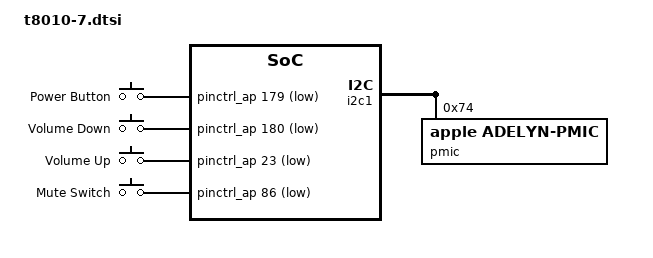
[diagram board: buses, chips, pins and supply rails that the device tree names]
// SPDX-License-Identifier: GPL-2.0+ OR MIT
/*
 * Apple iPhone 7 / 7 Plus common device tree
 *
 * Copyright (c) 2022, Konrad Dybcio <konradybcio@kernel.org>
 */

#include "t8010.dtsi"
#include "t8010-common.dtsi"
#include <dt-bindings/input/input.h>

/ {
	chassis-type = "handset";

	gpio-keys {
		compatible = "gpio-keys";

		button-power {
			label = "Power Button";
			gpios = <&pinctrl_ap 179 GPIO_ACTIVE_LOW>;
			linux,code = <KEY_POWER>;
			wakeup-source;
		};

		button-voldown {
			label = "Volume Down";
			gpios = <&pinctrl_ap 180 GPIO_ACTIVE_LOW>;
			linux,code = <KEY_VOLUMEDOWN>;
		};

		button-volup {
			label = "Volume Up";
			gpios = <&pinctrl_ap 23 GPIO_ACTIVE_LOW>;
			linux,code = <KEY_VOLUMEUP>;
		};

		switch-mute {
			label = "Mute Switch";
			gpios = <&pinctrl_ap 86 GPIO_ACTIVE_LOW>;
			linux,code = <KEY_MUTE>;
		};
	};
};

&framebuffer0 {
	power-domains = <&ps_disp0_fe &ps_disp0_be &ps_mipi_dsi>;
};

&hurricane_opp09 {
	status = "okay";
};

&hurricane_opp10 {
	status = "okay";
};

&i2c1 {
	status = "okay";

	pmic@74 {
		compatible = "apple,adelyn-pmic", "apple,i2c-pmic";
		reg = <0x74>;
		#address-cells = <1>;
		#size-cells = <1>;

		rtc@500 {
			compatible = "apple,adelyn-pmic-rtc", "apple,antigua-pmic-rtc";
			reg = <0x500 0x10>;
			nvmem-cells = <&rtc_offset>;
			nvmem-cell-names = "rtc_offset";
		};

		nvmem@5000 {
			compatible = "apple,pmic-nvmem";
			reg = <0x5000 0x28>;

			nvmem-layout {
				compatible = "fixed-layout";
				#address-cells = <1>;
				#size-cells = <1>;

				rtc_offset: rtc-offset@4 {
					reg = <0x4 0x4>;
				};
			};
		};
	};
};
